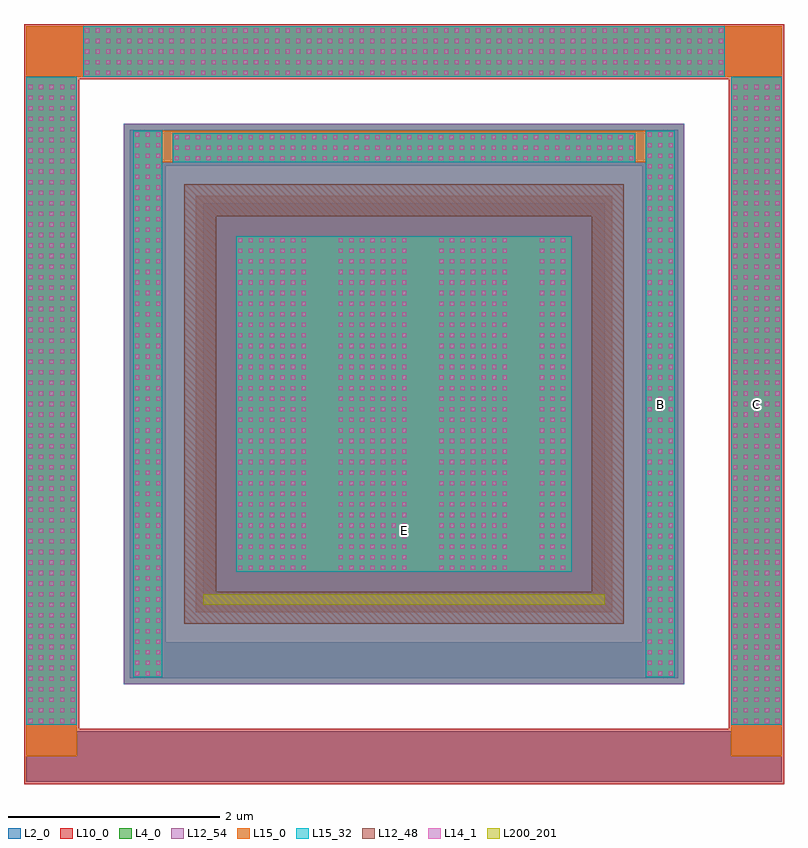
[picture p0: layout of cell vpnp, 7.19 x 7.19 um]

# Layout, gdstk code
import gdstk
lib = gdstk.Library(unit=1e-6, precision=1e-09)
def R(c, l, rs):  # rectangles x0, y0, x1, y1
    for r in rs: c.add(gdstk.rectangle(r[:2], r[2:], *l))
def A(c, l, x, y, w, h, nx, ny, dx, dy):  # array of equal rectangles
    R(c, l, [(x+i*dx, y+j*dy, x+i*dx+w, y+j*dy+h) for i in range(nx) for j in range(ny)])
L2_0 = (2, 0)
L4_0 = (4, 0)
L10_0 = (10, 0)
L12_48 = (12, 48)
L12_54 = (12, 54)
L14_1 = (14, 1)
L15_0 = (15, 0)
L15_32 = (15, 32)
L200_201 = (200, 201)

vpnp = lib.new_cell('vpnp')
R(vpnp, L2_0, [(-10.079,-2.109,-2.927,-1.629), (-10.079,-1.629,-9.599,4.563), (-3.407,-1.629,-2.927,4.563), (-9.099,-1.129,-3.907,-0.789), (-9.099,-0.789,-8.759,3.723), (-4.247,-0.789,-3.907,3.723), (-8.403,-0.433,-4.603,3.367), (-9.099,3.723,-3.907,4.063), (-10.079,4.563,-2.927,5.043)])
R(vpnp, L4_0, [(-9.155,-1.185,-3.851,4.119)])
R(vpnp, L10_0, [(-10.1,-2.13,-2.906,-1.608), (-10.1,-1.608,-9.578,4.542), (-3.428,-1.608,-2.906,4.542), (-8.473,-0.503,-4.533,3.437), (-10.1,4.542,-2.906,5.064)])
R(vpnp, L12_48, [(-8.584,-0.614,-4.422,-0.308), (-8.584,-0.308,-8.278,3.242), (-4.728,-0.308,-4.422,3.242), (-8.584,3.242,-4.422,3.548)])
R(vpnp, L12_54, [(-9.155,-1.185,-3.851,4.119)])
A(vpnp, L14_1, -10.059, -1.553, 0.04, 0.04, 5, 61, 0.1, 0.1)
A(vpnp, L14_1, -3.387, -1.553, 0.04, 0.04, 5, 61, 0.1, 0.1)
A(vpnp, L14_1, -9.049, -1.103, 0.04, 0.04, 3, 52, 0.1, 0.1)
A(vpnp, L14_1, -4.197, -1.103, 0.04, 0.04, 3, 52, 0.1, 0.1)
A(vpnp, L14_1, -8.073, -0.103, 0.04, 0.04, 7, 32, 0.1, 0.1)
A(vpnp, L14_1, -7.121, -0.103, 0.04, 0.04, 7, 32, 0.1, 0.1)
A(vpnp, L14_1, -6.169, -0.103, 0.04, 0.04, 7, 32, 0.1, 0.1)
A(vpnp, L14_1, -5.217, -0.103, 0.04, 0.04, 3, 32, 0.1, 0.1)
A(vpnp, L14_1, -8.673, 3.773, 0.04, 0.04, 44, 3, 0.1, 0.1)
A(vpnp, L14_1, -9.523, 4.583, 0.04, 0.04, 61, 5, 0.1, 0.1)
R(vpnp, L15_0, [(-10.077,-1.869,-9.601,5.041), (-3.405,-1.869,-2.929,5.041), (-9.067,-1.121,-8.791,4.055), (-4.215,-1.121,-3.939,4.055), (-8.091,-0.121,-4.915,3.055), (-8.791,3.755,-4.215,4.055), (-9.601,4.565,-3.405,5.041)])
R(vpnp, L15_32, [(-10.077,-1.571,-9.601,4.565), (-3.405,-1.571,-2.929,4.565), (-9.067,-1.121,-8.791,4.055), (-4.215,-1.121,-3.939,4.055), (-8.091,-0.121,-4.915,3.055), (-8.691,3.755,-4.315,4.031), (-9.541,4.565,-3.465,5.041)])
R(vpnp, L200_201, [(-8.403,-0.433,-4.603,-0.333)])
vpnp.add(gdstk.Label('E', (-6.503,0.267), layer=15, texttype=20))
vpnp.add(gdstk.Label('B', (-4.077,1.467), layer=15, texttype=20))
vpnp.add(gdstk.Label('C', (-3.167,1.467), layer=15, texttype=20))

lib.write_gds('vpnp.gds')
